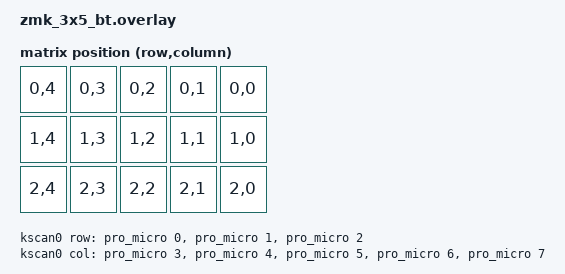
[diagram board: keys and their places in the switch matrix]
/*
 * Copyright (c) 2026
 * SPDX-License-Identifier: MIT
 *
 * ZMK 3x5 Bluetooth Keyboard Shield
 * Board: nice!nano / Pro Micro (NRF52840)
 * Matrix: 3 rows x 5 columns, ROW2COL diode orientation (anode→row, cathode→col)
 * Row pins: D0, D1, D2 (driven outputs)
 * Col pins: D3, D4, D5, D6, D7 (sensed inputs, pulled down)
 * NOTE: PCB column bus is physically mirrored (leftmost key → D7/col4),
 * so the transform map reverses each row to keep keymap order YUIOP/HJKL;/NM,.
 *
 * RGB: WS2812B×15 on D8 (P1.04) via SPI3.
 *   P1.04 = SPIM3.MOSI on nRF52840. The worldsemi,ws2812-spi driver
 *   reuses the SPI peripheral and serializes WS2812B bits over MOSI.
 *   SCK=P0.26 supplies the SPI clock (not wired to WS2812, but required
 *   by the SPIM controller to shift out data).
 *
 * IMPORTANT: use the SPI backend, NOT worldsemi,ws2812-gpio. The GPIO
 * backend (ws2812_gpio.c) is nRF51-only (depends on SOC_SERIES_NRF51X
 * and is hard-coded to nRF51 inline assembly) and cannot run on the
 * nRF52840. The SPI backend is portable to nRF52.
 */

#include <dt-bindings/led/led.h>
#include <dt-bindings/zmk/matrix_transform.h>
#include <dt-bindings/pinctrl/nrf-pinctrl.h>

/ {
    chosen {
        zmk,kscan = &kscan0;
        zmk,matrix-transform = &default_transform;
        zmk,led-strip = &led_strip;
    };

    kscan0: kscan {
        compatible = "zmk,kscan-gpio-matrix";
        wakeup-source;
        diode-direction = "row2col";

        row-gpios =
            <&pro_micro 0 GPIO_ACTIVE_HIGH>,
            <&pro_micro 1 GPIO_ACTIVE_HIGH>,
            <&pro_micro 2 GPIO_ACTIVE_HIGH>;

        col-gpios =
            <&pro_micro 3 (GPIO_ACTIVE_HIGH | GPIO_PULL_DOWN)>,
            <&pro_micro 4 (GPIO_ACTIVE_HIGH | GPIO_PULL_DOWN)>,
            <&pro_micro 5 (GPIO_ACTIVE_HIGH | GPIO_PULL_DOWN)>,
            <&pro_micro 6 (GPIO_ACTIVE_HIGH | GPIO_PULL_DOWN)>,
            <&pro_micro 7 (GPIO_ACTIVE_HIGH | GPIO_PULL_DOWN)>;
    };

    default_transform: keymap_transform0 {
        compatible = "zmk,matrix-transform";
        columns = <5>;
        rows = <3>;
        map = <
            RC(0,4) RC(0,3) RC(0,2) RC(0,1) RC(0,0)
            RC(1,4) RC(1,3) RC(1,2) RC(1,1) RC(1,0)
            RC(2,4) RC(2,3) RC(2,2) RC(2,1) RC(2,0)
        >;
    };

};

/*
 * EXTERNAL POWER (3.3V/VCC RAIL) POLARITY - DO NOT REMOVE
 * -------------------------------------------------------
 * The nice!nano header pin driven by P0.13 is the switched 3.3V/VCC output.
 * ZMK's stock board file (zephyr/boards/.../nice_nano.dts) declares it as
 *
 *     EXT_POWER { compatible = "zmk,ext-power-generic";
 *                 control-gpios = <&gpio0 13 GPIO_ACTIVE_LOW>; };
 *
 * which is correct for a GENUINE nice!nano (P0.13 pulled LOW = rail ON).
 * ZMK's driver unconditionally ENABLES external power at boot
 * (ext_power_generic_init() -> ext_power_enable() -> gpio_pin_set_dt(gpio, 1)),
 * so on a genuine board the rail comes up LOW = ON.
 *
 * THIS PCB's module has the OPPOSITE polarity - the vendor documentation for
 * this board states: "当 P0.13 设置为低时，将关闭 3.3V - VCC 引脚的电源"
 * (P0.13 LOW switches the rail OFF). Measured on the real board:
 *   - DFU/reset  (P0.13 floating, external pull-up): 3.3 V present  -> ON
 *   - firmware running (P0.13 driven LOW by ZMK):   ~0 V            -> OFF
 * i.e. the stock polarity turned the WS2812B/TXS0102 supply OFF the moment
 * ZMK booted, which is exactly the "LEDs never light" failure.
 *
 * Overriding with GPIO_ACTIVE_HIGH makes ZMK's "enabled" state drive P0.13
 * HIGH = rail ON on this hardware, and keeps the &ext_power behavior
 * (EP_ON/EP_OFF/EP_TOG) working with correct semantics.
 *
 * NOTE: &{/EXT_POWER} (path reference) is used because the board file defines
 * the node without a label - &EXT_POWER would not resolve.
 */
&{/EXT_POWER} {
    control-gpios = <&gpio0 13 GPIO_ACTIVE_HIGH>;
};

&pinctrl {
    /* SPI3 = nRF52840 high-speed SPI (the only SPIM that can drive P1.x pins;
     * SPIM0/1/2 are P0-only). WS2812B data is on P1.04, so SPIM3 is mandatory.
     * These states MUST live under &pinctrl (compatible = "nordic,nrf-pinctrl")
     * or Zephyr fails with "Z_PINCTRL_STATE_PIN_INIT undeclared".
     * PSELs use the Zephyr v3.5 NRF_PSEL(fun,port,pin) bit layout:
     *   bits 6..0  = port*32 + pin
     *   bits 31..16 = function (SPIM_MOSI=5, SPIM_SCK=4). */
    spi3_ws2812_default: spi3_ws2812_default {
        group1 {
            psels = <NRF_PSEL(SPIM_MOSI, 1, 4)>,
                    <NRF_PSEL(SPIM_SCK, 0, 26)>;
        };
    };

    spi3_ws2812_sleep: spi3_ws2812_sleep {
        group1 {
            psels = <NRF_PSEL(SPIM_MOSI, 1, 4)>,
                    <NRF_PSEL(SPIM_SCK, 0, 26)>;
            low-power-enable;
        };
    };
};

&spi3 {
    compatible = "nordic,nrf-spim";
    status = "okay";

    pinctrl-0 = <&spi3_ws2812_default>;
    pinctrl-1 = <&spi3_ws2812_sleep>;
    pinctrl-names = "default", "sleep";

    led_strip: ws2812@0 {
        compatible = "worldsemi,ws2812-spi";

        /* NOTE: do NOT add an "in-gpios" property here. That property belongs
         * to the GPIO backend (worldsemi,ws2812-gpio) only. The SPI backend
         * (worldsemi,ws2812-spi) shifts data out over MOSI, so it declares no
         * data-pin property, and adding one aborts the build with:
         *   devicetree error: 'in-gpios' appears in .../ws2812@0 ...
         *   but is not declared in 'properties:' in worldsemi,ws2812-spi.yaml
         */

        /* SPI
         *
         * reg is required by the worldsemi,ws2812-spi binding (the value is
         * ignored - the driver shifts out over MOSI) but omitting it aborts
         * the build with:
         *   devicetree error: 'reg' is marked as required in 'properties:' */
        reg = <0>;

        /* ST-1209RGB timing (the LED on this bring-up board), per vendor
         * datasheet - it is NOT WS2812B-speed-compatible:
         *   T0H 0.295us  T1H 0.595us  bit period 0.89us (1124 kHz)
         *   valid windows:  T0H 0.245-0.345  T1H 0.545-0.645
         *   discriminator ~0.445us  (midpoint of the two high-time windows)
         *   F_DIN max 1100 kHz -> the die can only run SLOWER than nominal
         *   wire colour order: R,G,B MSB-first (NOT WS2812B's GRB)
         *
         * Zephyr's ws2812_spi serialises ONE WS2812 bit into ONE FULL SPI BYTE
         * (ws2812_spi_ser(): buf[i] = bit ? one_frame : zero_frame, 8 bytes per
         * channel), so a '1' pulse is N high SPI bits wide, a '0' is M high SPI
         * bits. With the DISCRETE nRF clock (125k..32M, Zephyr FLOORS the
         * request), only 8 MHz yields integer N,M that BOTH land inside the
         * ST-1209RGB windows:
         *
         *   clock   T1H (bits)    T0H (bits)     bit period     verdict
         *   8 MHz   0.625us (5)   0.250us (2)    1.00us/1000k  OK  both in window
         *   4 MHz   0.75us (3)    0.25us (1)     2.00us/500k   T1H +0.105us out
         *   2 MHz   1.50us (3)    0.50us (1)     4.00us/250k   T0H > 0.445 -> ALL 1
         *
         * At 2 MHz T0H=0.50us exceeds the ST-1209RGB discriminator (~0.445us),
         * so every bit decodes as '1' -> strip shows solid white / no walk.
         * At 8 MHz both highs sit inside their windows (T0H=0.250 is only 5ns
         * above the 0.245 floor - the sole residual margin; verify on-board).
         * 16/32 MHz would need >7 high bits for T1H - impossible in one byte.
         *
         * CRITICAL - nRF52840 SPIM is DISCRETE (125k/250k/500k/1M/2M/4M/8M/
         * 16M/32M). Zephyr's get_nrf_spim_frequency() FLOORS the request. The
         * old <3200000> was silently floored to 2 MHz. Always write an EXACT
         * supported value (here 8000000). */
        spi-max-frequency = <8000000>;

        /* 0x7C = 0111_1100 (5 high bits -> T1H 0.625us)
         * 0x60 = 0110_0000 (2 high bits -> T0H 0.250us) */
        spi-one-frame = <0x7C>;
        spi-zero-frame = <0x60>;

        /* Latch gap after each frame. The classic WS2812B needs > 50 us, but
         * the newer WS2812B-V5 die needs >= 280 us before it latches, and this
         * strip's exact variant is unknown. The board idles far longer than
         * that between frames, so this is pure insurance. */
        reset-delay = <300>;

        /* WS2812B chain length. TEMPORARY: this build targets the 4-pixel
         * bring-up board used to validate the new ST-1209RGB LED plus the
         * MT3608 5V rail and 74AHCT1G125 level shifter, ahead of committing
         * the TOPOLOGY-SAFE full 15-pixel board. Restore to <15> before the
         * real board is populated (and re-check LED_PIXEL_COUNT below). */
        chain-length = <4>; /* 4 LEDs: bring-up test board */
        color-mapping = <LED_COLOR_ID_RED
                         LED_COLOR_ID_GREEN
                         LED_COLOR_ID_BLUE>;
    };
};
